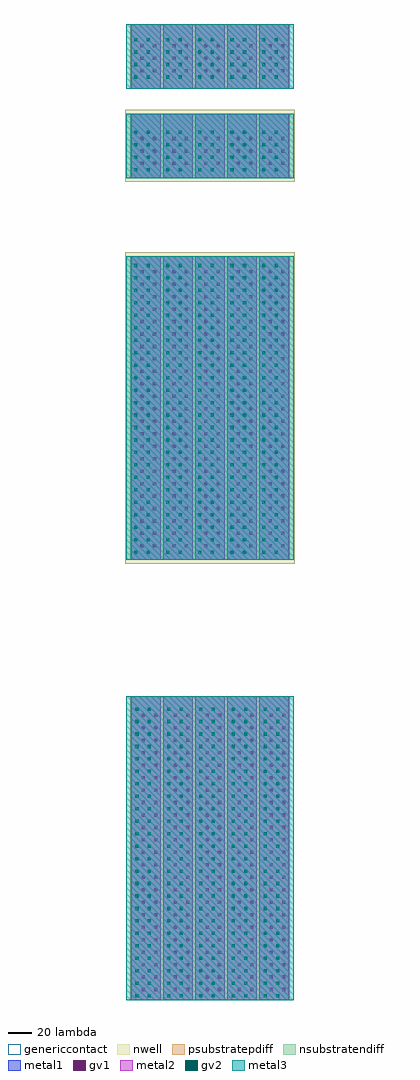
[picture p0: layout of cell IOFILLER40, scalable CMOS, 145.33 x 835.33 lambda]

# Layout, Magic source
magic
tech scmos
magscale 1 6
<< nwell >>
rect 31 4220 841 4552
rect 31 2260 841 3820
<< psubstratepdiff >>
rect 31 4680 841 5012
rect 31 0 841 1560
<< nsubstratendiff >>
rect 31 4220 841 4552
rect 31 2260 841 3820
<< metal3 >>
rect 31 4680 841 5012
rect 31 4220 841 4552
rect 31 2260 841 3820
rect 31 0 841 1560
use IOFILLER10  IOFILLER10_0 ~/ETRI050_DesignKit/pads_ETRI/GDS_Magic
transform 1 0 7 0 1 0
box -7 0 207 5012
use IOFILLER10  IOFILLER10_1
transform 1 0 665 0 1 0
box -7 0 207 5012
use IOFILLER10  IOFILLER10_2
transform 1 0 171 0 1 0
box -7 0 207 5012
use IOFILLER10  IOFILLER10_3
transform 1 0 335 0 1 0
box -7 0 207 5012
use IOFILLER10  IOFILLER10_4
transform 1 0 501 0 1 0
box -7 0 207 5012
<< end >>

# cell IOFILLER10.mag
magic
tech scmos
magscale 1 6
<< nwell >>
rect -7 4201 207 4571
rect -7 2241 207 3839
<< psubstratepdiff >>
rect 20 4680 180 5012
rect 20 0 180 1560
<< nsubstratendiff >>
rect 20 4220 180 4552
rect 20 2260 180 3820
<< metal1 >>
rect 24 4680 176 5012
rect 24 4220 176 4552
rect 24 2260 176 3820
rect 24 0 176 1560
<< metal2 >>
rect 24 4680 176 5012
rect 24 4220 176 4552
rect 24 2260 176 3820
rect 24 0 176 1560
<< metal3 >>
rect 0 4680 200 5012
rect 0 4220 200 4552
rect 0 2260 200 3820
rect 0 0 200 1560
use CONT  CONT_0
array 0 1 64 0 23 64
transform 1 0 54 0 1 22
box -6 -6 6 6
use CONT  CONT_1
array 0 1 64 0 23 64
transform 1 0 48 0 1 2300
box -6 -6 6 6
use CONT  CONT_2
array 0 1 64 0 3 64
transform 1 0 48 0 1 4264
box -6 -6 6 6
use CONT  CONT_3
array 0 1 64 0 3 64
transform 1 0 48 0 1 4740
box -6 -6 6 6
use VIA1  VIA1_0
array 0 1 64 0 22 64
transform 1 0 80 0 1 2332
box -8 -8 8 8
use VIA1  VIA1_1
array 0 1 64 0 22 64
transform 1 0 86 0 1 54
box -8 -8 8 8
use VIA1  VIA1_2
array 0 1 64 0 2 64
transform 1 0 80 0 1 4296
box -8 -8 8 8
use VIA1  VIA1_3
array 0 1 64 0 2 64
transform 1 0 80 0 1 4772
box -8 -8 8 8
use VIA2  VIA2_0
array 0 1 64 0 23 64
transform 1 0 54 0 1 22
box -8 -8 8 8
use VIA2  VIA2_1
array 0 1 64 0 23 64
transform 1 0 48 0 1 2300
box -8 -8 8 8
use VIA2  VIA2_2
array 0 1 64 0 3 64
transform 1 0 48 0 1 4264
box -8 -8 8 8
use VIA2  VIA2_3
array 0 1 64 0 3 64
transform 1 0 48 0 1 4740
box -8 -8 8 8
<< end >>

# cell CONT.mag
magic
tech scmos
<< genericcontact >>
rect -1 -1 1 1
<< end >>

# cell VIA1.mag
magic
tech scmos
magscale 1 3
<< gv1 >>
rect -4 -4 4 4
<< end >>

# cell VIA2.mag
magic
tech scmos
magscale 1 3
<< gv2 >>
rect -4 -4 4 4
<< end >>
